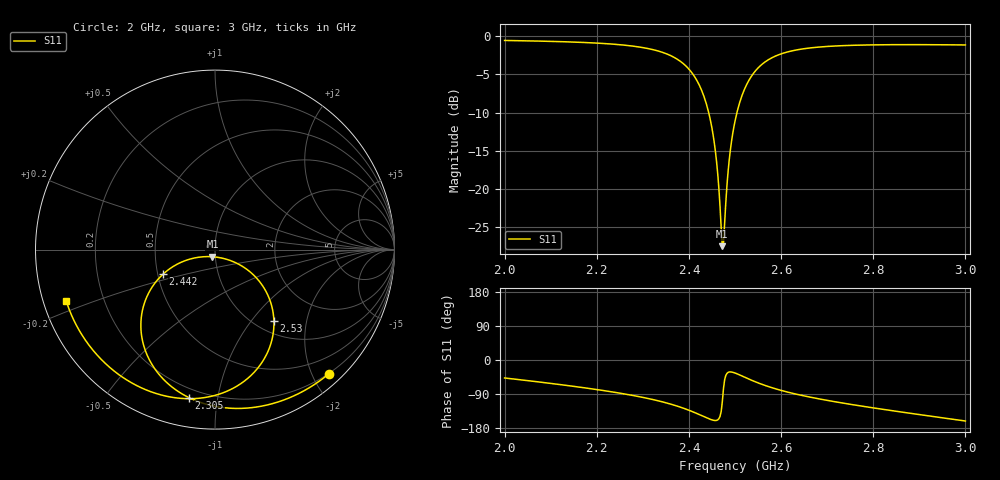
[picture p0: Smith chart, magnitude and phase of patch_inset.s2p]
! Touchstone file exported from HFSS 2025.2.0
!  File:  C:/Users/kaane/AnsysMaxwellExercise/patch_2p45GHz_PyAEDT_MODULE_12/patch_showcase/Patch_2p45GHz_Showcase.aedt
!  Generated:  12:44:49 PM May  1, 2026
!  Design:  Patch_InsetFed
!  Project:  Patch_2p45GHz_Showcase
! Variables:
!  f0 = 2.45GHz
!  feed_W = 3mm
!  inset_d = 9mm
!  inset_g = 1mm
!  patch_L = 28.2mm
!  patch_W = 38mm
# GHz S MA R 50.000000
! Terminal data exported
! Port[1] = P1
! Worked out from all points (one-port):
!   401 points, 2 GHz to 3 GHz, reference 50 ohm
!   lowest |S11| = -27.5 dB at 2.473 GHz (marker M1), VSWR 1.09, Z = 48.4 - j3.86 ohm
!   |S11| at or under -10 dB: 2.443 GHz to 2.504 GHz (61.27 MHz wide, 2.48 % of centre)
!   S11 on the Smith chart (normalised r, x): 2 GHz: 0.20, -2.26; 2.305 GHz: 0.15, -0.83; 2.442 GHz: 0.53, -0.16; 2.53 GHz: 1.21, -1.30; 3 GHz: 0.07, -0.17
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2  0.9385 -47.4
2.125  0.9212 -65.5
2.25  0.8802 -87.5
2.305  0.8377 -99.9
2.3425  0.7848 -110.5
2.375  0.7065 -121.8
2.4125  0.5428 -138.7
2.43  0.4244 -148.1
2.4425  0.3201 -154.7
2.45  0.2502 -158.1
2.4575  0.1762 -159.7
2.4625  0.1258 -158.0
2.47  0.05601 -136.0
2.4725  0.04231 -110.1
2.475  0.04383 -75.3
2.4775  0.0594 -52.0
2.4875  0.1555 -31.7
2.4925  0.2056 -31.7
2.5  0.2781 -34.3
2.5125  0.3877 -40.7
2.53  0.5136 -50.3
2.55  0.6198 -60.4
2.575  0.7093 -71.1
2.625  0.8039 -87.9
2.68  0.8485 -102.1
2.75  0.8715 -116.9
2.875  0.8811 -139.7
3  0.877 -161.0
